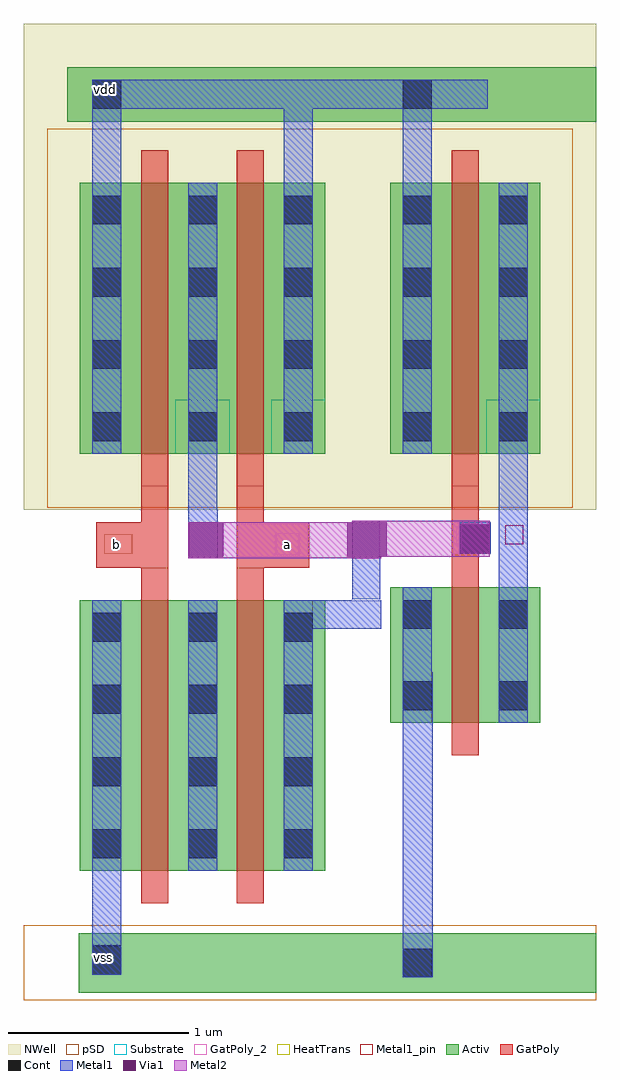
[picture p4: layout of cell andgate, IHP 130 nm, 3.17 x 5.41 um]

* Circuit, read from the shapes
.subckt andgate a b vdd vss
XM1 n1 b vss vss sg13_lv_nmos w=1.5u l=0.15u
XM2 n2 a n1 vss sg13_lv_nmos w=1.5u l=0.15u
XM3 inverter$4_4/out inverter$4_4/in vss vss sg13_lv_nmos w=0.75u l=0.15u
XM4 inverter$4_4/in b vdd vdd sg13_lv_pmos w=1.5u l=0.15u
XM5 vdd a inverter$4_4/in vdd sg13_lv_pmos w=1.5u l=0.15u
XM6 inverter$4_4/out inverter$4_4/in vdd vdd sg13_lv_pmos w=1.5u l=0.15u
.ends

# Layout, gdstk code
from math import pi, radians
import gdstk
lib = gdstk.Library(unit=1e-6, precision=5e-09)
def R(c, l, rs):  # rectangles x0, y0, x1, y1
    for r in rs: c.add(gdstk.rectangle(r[:2], r[2:], *l))
def A(c, l, x, y, w, h, nx, ny, dx, dy):  # array of equal rectangles
    R(c, l, [(x+i*dx, y+j*dy, x+i*dx+w, y+j*dy+h) for i in range(nx) for j in range(ny)])
Activ = (1, 0)
GatPoly = (5, 0)
GatPoly_2 = (5, 2)
Cont = (6, 0)
Metal1 = (8, 0)
Metal1_pin = (8, 2)
Metal2 = (10, 0)
pSD = (14, 0)
Via1 = (19, 0)
NWell = (31, 0)
Substrate = (40, 0)
HeatTrans = (51, 0)

nmos_1 = lib.new_cell('nmos$1')
R(nmos_1, Activ, [(0,0,0.3,0.3), (0,0,0.83,1.5), (0.53,0,0.83,0.3)])
R(nmos_1, GatPoly, [(0.34,-0.18,0.49,1.68)])
R(nmos_1, GatPoly_2, [(0.34,-0.18,0.49,1.68)])
A(nmos_1, Cont, 0.07, 0.07, 0.16, 0.16, 1, 4, 0, 0.4)
A(nmos_1, Cont, 0.6, 0.07, 0.16, 0.16, 1, 4, 0, 0.4)
R(nmos_1, Metal1, [(0.07,0,0.23,1.5), (0.6,0,0.76,1.5)])
R(nmos_1, Metal1_pin, [(0.07,0,0.23,1.5), (0.6,0,0.76,1.5)])
R(nmos_1, HeatTrans, [(0.34,-0.18,0.49,1.68)])
nmos_1.add(gdstk.Label('nmos', (0.415,0.75), layer=63, texttype=0))
nmos_1.add(gdstk.Label('nmos', (0.415,0.75), layer=51, texttype=0))

pmos = lib.new_cell('pmos')
R(pmos, Activ, [(0,0,0.3,0.3), (0,0,0.83,1.5), (0.53,0,0.83,0.3)])
R(pmos, GatPoly, [(0.34,-0.18,0.49,1.68), (0.34,-0.18,0.49,1.68)])
A(pmos, Cont, 0.07, 0.07, 0.16, 0.16, 1, 4, 0, 0.4)
A(pmos, Cont, 0.6, 0.07, 0.16, 0.16, 1, 4, 0, 0.4)
R(pmos, Metal1, [(0.07,0,0.23,1.5), (0.07,0,0.23,1.5), (0.6,0,0.76,1.5), (0.6,0,0.76,1.5)])
R(pmos, pSD, [(-0.18,-0.3,1.01,1.8)])
R(pmos, NWell, [(-0.31,-0.31,1.14,1.81)])
R(pmos, Substrate, [(0.53,0,0.83,0.3)])
R(pmos, HeatTrans, [(0.34,-0.18,0.49,1.68)])
pmos.add(gdstk.Label('pmos', (0.415,0.75), layer=63, texttype=0))
pmos.add(gdstk.Label('pmos', (0.415,0.75), layer=51, texttype=0))

nmos_5 = lib.new_cell('nmos$5')
R(nmos_5, Activ, [(0,0,0.3,0.3), (0,0,0.83,0.75), (0.53,0,0.83,0.3)])
R(nmos_5, GatPoly, [(0.34,-0.18,0.49,0.93)])
R(nmos_5, GatPoly_2, [(0.34,-0.18,0.49,0.93)])
R(nmos_5, Cont, [(0.07,0.07,0.23,0.23), (0.6,0.07,0.76,0.23), (0.07,0.52,0.23,0.68), (0.6,0.52,0.76,0.68)])
R(nmos_5, Metal1, [(0.07,0,0.23,0.75), (0.6,0,0.76,0.75)])
R(nmos_5, Metal1_pin, [(0.07,0,0.23,0.75), (0.6,0,0.76,0.75)])
R(nmos_5, HeatTrans, [(0.34,-0.18,0.49,0.93)])
nmos_5.add(gdstk.Label('nmos', (0.415,0.375), layer=63, texttype=0))
nmos_5.add(gdstk.Label('nmos', (0.415,0.375), layer=51, texttype=0))

pmos_5 = lib.new_cell('pmos$5')
R(pmos_5, Activ, [(0,0,0.3,0.3), (0,0,0.83,1.5), (0.53,0,0.83,0.3)])
R(pmos_5, GatPoly, [(0.34,-0.18,0.49,1.68), (0.34,-0.18,0.49,1.68)])
A(pmos_5, Cont, 0.07, 0.07, 0.16, 0.16, 1, 4, 0, 0.4)
A(pmos_5, Cont, 0.6, 0.07, 0.16, 0.16, 1, 4, 0, 0.4)
R(pmos_5, Metal1, [(0.07,0,0.23,1.5), (0.07,0,0.23,1.5), (0.6,0,0.76,1.5), (0.6,0,0.76,1.5)])
R(pmos_5, pSD, [(-0.18,-0.3,1.01,1.8)])
R(pmos_5, NWell, [(-0.31,-0.31,1.14,1.81)])
R(pmos_5, Substrate, [(0.53,0,0.83,0.3)])
R(pmos_5, HeatTrans, [(0.34,-0.18,0.49,1.68)])
pmos_5.add(gdstk.Label('pmos', (0.415,0.75), layer=63, texttype=0))
pmos_5.add(gdstk.Label('pmos', (0.415,0.75), layer=51, texttype=0))

inverter_4 = lib.new_cell('inverter$4')
R(inverter_4, Activ, [(-0.925,-2.62,0.525,-2.29), (-0.925,2.205,0.525,2.505)])
R(inverter_4, GatPoly, [(-0.275,-0.195,-0.125,0.185)])
R(inverter_4, GatPoly_2, [(-0.25,-0.14,-0.155,-0.04)])
R(inverter_4, Cont, [(-0.545,-2.535,-0.385,-2.375), (-0.545,-2.535,-0.385,-2.375), (-0.545,2.275,-0.385,2.435)])
R(inverter_4, Metal1, [(-0.545,-2.535,-0.38,-0.845), (-0.015,-0.375,0.145,0.365), (-0.545,1.865,-0.385,2.435)])
R(inverter_4, Metal1_pin, [(0.02,-0.135,0.12,-0.03)])
R(inverter_4, pSD, [(-0.925,-2.66,0.525,-2.245)])
R(inverter_4, NWell, [(-0.925,2.175,0.525,2.745)])
inverter_4.add(gdstk.Reference(nmos_5, (-0.615,-1.125)))
inverter_4.add(gdstk.Reference(pmos_5, (-0.615,0.365)))
inverter_4.add(gdstk.Label('vss', (-0.475,-2.43), layer=8, texttype=2))
inverter_4.add(gdstk.Label('vdd', (-0.465,2.355), layer=8, texttype=2))
inverter_4.add(gdstk.Label('out', (0.06,-0.09), layer=8, texttype=2))
inverter_4.add(gdstk.Label('in', (-0.205,-0.09), layer=5, texttype=2))

andgate = lib.new_cell('andgate')
R(andgate, Activ, [(-0.62,-2.62,1.185,-2.29), (-0.685,2.205,1.235,2.505)])
R(andgate, GatPoly, [(-0.525,-0.265,-0.125,-0.015), (-0.275,-0.265,-0.125,0.185), (0.255,-0.265,0.405,0.185), (0.255,-0.265,0.655,-0.015)])
R(andgate, GatPoly_2, [(0.47,-0.195,0.6,-0.075), (-0.48,-0.19,-0.325,-0.08)])
R(andgate, Cont, [(-0.545,-2.52,-0.385,-2.36), (1.495,-0.185,1.655,-0.025), (-0.545,2.275,-0.385,2.435)])
R(andgate, Metal1, [(-0.545,-2.52,-0.385,-0.445), (0.515,-0.605,1.055,-0.445), (0.895,-0.44,1.05,-0.005), (-0.015,-0.215,0.15,0.055), (1.49,-0.19,1.66,-0.015), (-0.015,0.055,0.145,0.365), (-0.545,0.365,-0.385,2.435), (-0.545,1.865,-0.385,2.435), (0.515,1.865,0.675,2.435), (-0.545,2.275,0.675,2.435), (0.675,2.275,1.645,2.435)])
R(andgate, Metal1_pin, [(-0.545,-2.52,-0.385,-2.355), (-0.545,2.275,-0.385,2.435)])
R(andgate, Metal2, [(-0.015,-0.215,1.055,-0.015), (0.895,-0.205,1.655,-0.005)])
R(andgate, pSD, [(-0.925,-2.66,1.105,-2.245)])
R(andgate, Via1, [(-0.01,-0.205,0.18,-0.015), (0.865,-0.205,1.055,-0.015), (0.895,-0.205,1.085,-0.015), (1.495,-0.185,1.655,-0.025)])
R(andgate, NWell, [(-0.925,2.175,1.105,2.745)])
andgate.add(gdstk.Reference(nmos_1, (0.745,-0.445), rotation=pi))
andgate.add(gdstk.Reference(pmos, (-0.085,0.365)))
andgate.add(gdstk.Reference(pmos, (-0.615,0.365)))
andgate.add(gdstk.Reference(nmos_1, (-0.615,-1.945)))
andgate.add(gdstk.Reference(inverter_4, (1.72,0)))
andgate.add(gdstk.Label('vdd', (-0.475,2.38), layer=8, texttype=2))
andgate.add(gdstk.Label('vss', (-0.485,-2.425), layer=8, texttype=2))
andgate.add(gdstk.Label('b', (-0.41,-0.14), layer=5, texttype=2))
andgate.add(gdstk.Label('a', (0.535,-0.135), layer=5, texttype=2))

lib.write_gds('andgate.gds')
